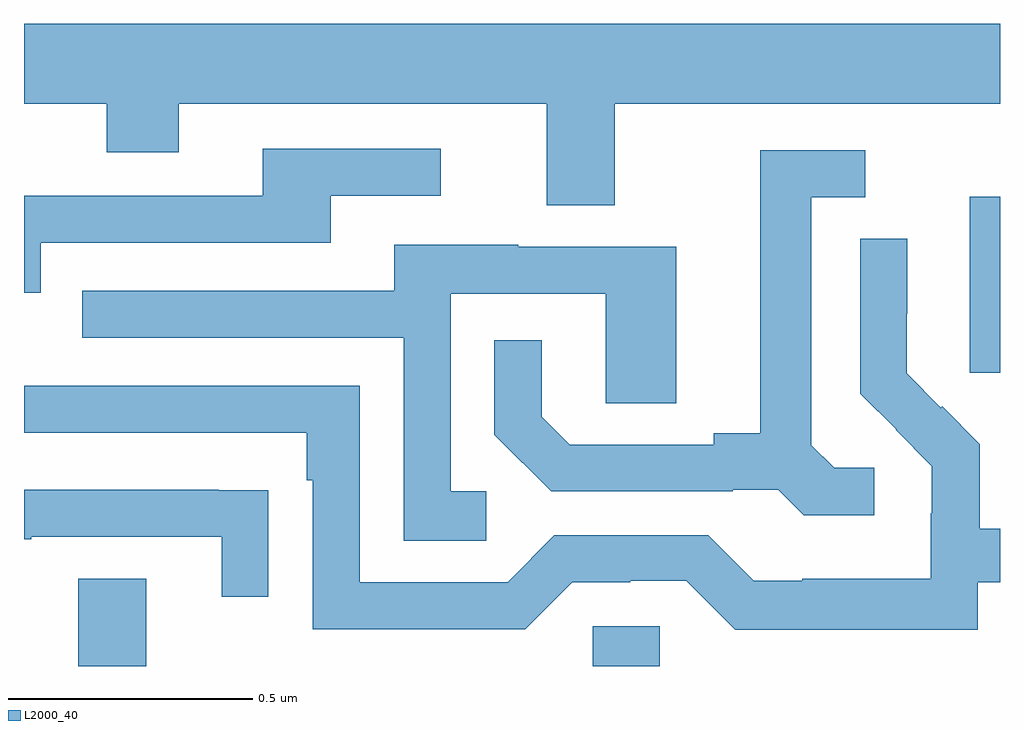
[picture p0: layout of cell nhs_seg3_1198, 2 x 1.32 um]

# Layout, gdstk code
import gdstk
lib = gdstk.Library(unit=1e-6, precision=1e-09)
def R(c, l, rs):  # rectangles x0, y0, x1, y1
    for r in rs: c.add(gdstk.rectangle(r[:2], r[2:], *l))
def P(c, l, *ps):  # polygons
    for p in ps: c.add(gdstk.Polygon(p, *l))
L2000_40 = (2000, 40)

nhs_seg3_1198 = lib.new_cell('nhs_seg3_1198')
R(nhs_seg3_1198, L2000_40, [(125.111,730.4,125.251,730.579), (126.165,730.4,126.303,730.482), (126.938,731.001,127,731.362)])
P(nhs_seg3_1198, L2000_40, [(126.211,731.552),(127,731.552),(127,731.716),(125,731.716),(125,731.552),(125.17,731.552),(125.17,731.453),(125.317,731.453),(125.317,731.552),(126.071,731.552),(126.071,731.344),(126.211,731.344)],
  [(125.034,731.268),(125.629,731.268),(125.629,731.364),(125.854,731.364),(125.854,731.46),(125.489,731.46),(125.489,731.364),(125,731.364),(125,731.165),(125.034,731.165)],
  [(126.742,730.806),(126.66,730.806),(126.613,730.853),(126.613,731.361),(126.724,731.361),(126.724,731.457),(126.509,731.457),(126.509,730.877),(126.413,730.877),(126.413,730.854),(126.118,730.854),(126.061,730.911),(126.061,731.068),(125.964,731.068),(125.964,730.874),(126.08,730.758),(126.452,730.758),(126.452,730.761),(126.546,730.761),(126.598,730.709),(126.742,730.709)],
  [(126.954,730.572),(127,730.572),(127,730.681),(126.959,730.681),(126.959,730.855),(126.882,730.932),(126.879,730.929),(126.809,731),(126.809,731.122),(126.81,731.122),(126.81,731.276),(126.714,731.276),(126.714,730.958),(126.787,730.885),(126.786,730.884),(126.86,730.81),(126.86,730.713),(126.858,730.713),(126.858,730.579),(126.595,730.579),(126.595,730.575),(126.495,730.575),(126.402,730.668),(126.087,730.668),(125.991,730.572),(125.688,730.572),(125.688,730.974),(125,730.974),(125,730.878),(125.579,730.878),(125.579,730.781),(125.592,730.781),(125.592,730.476),(126.027,730.476),(126.123,730.572),(126.242,730.572),(126.242,730.575),(126.357,730.575),(126.457,730.475),(126.954,730.475)],
  [(125.947,730.758),(125.874,730.758),(125.874,731.163),(126.192,731.163),(126.192,730.939),(126.337,730.939),(126.337,731.259),(126.013,731.259),(126.013,731.263),(125.759,731.263),(125.759,731.169),(125.119,731.169),(125.119,731.073),(125.778,731.073),(125.778,730.657),(125.947,730.657)],
  [(125.501,730.76),(125.399,730.76),(125.399,730.761),(125,730.761),(125,730.66),(125.015,730.66),(125.015,730.665),(125.405,730.665),(125.405,730.542),(125.501,730.542)])

lib.write_gds('nhs_seg3_1198.gds')
